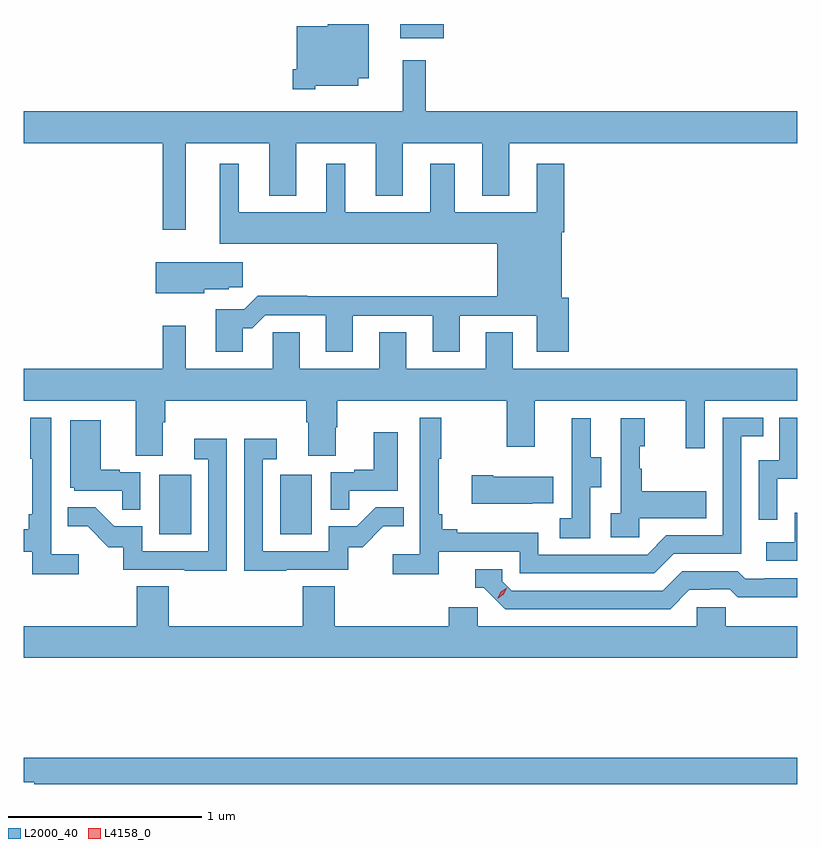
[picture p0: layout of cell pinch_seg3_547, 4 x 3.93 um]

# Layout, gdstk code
import gdstk
lib = gdstk.Library(unit=1e-6, precision=1e-09)
def R(c, l, rs):  # rectangles x0, y0, x1, y1
    for r in rs: c.add(gdstk.rectangle(r[:2], r[2:], *l))
def P(c, l, *ps):  # polygons
    for p in ps: c.add(gdstk.Polygon(p, *l))
L2000_40 = (2000, 40)
L4158_0 = (4158, 0)

pinch_seg3_547 = lib.new_cell('pinch_seg3_547')
R(pinch_seg3_547, L2000_40, [(1089.104,704.22,1089.268,704.527), (1089.728,704.22,1089.892,704.527), (1090.349,706.787,1090.576,706.86)])
P(pinch_seg3_547, L2000_40, [(1089.909,706.541),(1090.132,706.541),(1090.132,706.58),(1090.186,706.58),(1090.186,706.86),(1089.974,706.86),(1089.974,706.849),(1089.815,706.849),(1089.815,706.627),(1089.794,706.627),(1089.794,706.523),(1089.909,706.523)],
  [(1088.403,706.244),(1089.12,706.244),(1089.12,705.795),(1089.241,705.795),(1089.241,706.244),(1089.671,706.244),(1089.671,705.971),(1089.811,705.971),(1089.811,706.244),(1090.223,706.244),(1090.223,705.971),(1090.363,705.971),(1090.363,706.244),(1090.775,706.244),(1090.775,705.971),(1090.915,705.971),(1090.915,706.244),(1092.403,706.244),(1092.403,706.408),(1090.481,706.408),(1090.481,706.672),(1090.363,706.672),(1090.363,706.408),(1088.403,706.408)],
  [(1089.535,705.287),(1089.584,705.287),(1089.651,705.354),(1089.965,705.354),(1089.965,705.165),(1090.105,705.165),(1090.105,705.351),(1090.517,705.351),(1090.517,705.165),(1090.657,705.165),(1090.657,705.351),(1091.057,705.351),(1091.057,705.165),(1091.222,705.165),(1091.222,705.444),(1091.185,705.444),(1091.185,705.782),(1091.198,705.782),(1091.198,706.138),(1091.057,706.138),(1091.057,705.886),(1090.633,705.886),(1090.633,706.138),(1090.505,706.138),(1090.505,705.886),(1090.066,705.886),(1090.066,706.138),(1089.968,706.138),(1089.968,705.886),(1089.514,705.886),(1089.514,706.138),(1089.416,706.138),(1089.416,705.722),(1090.853,705.722),(1090.853,705.452),(1089.869,705.452),(1089.869,705.455),(1089.614,705.455),(1089.543,705.384),(1089.395,705.384),(1089.395,705.165),(1089.535,705.165)],
  [(1089.336,705.488),(1089.462,705.488),(1089.462,705.499),(1089.535,705.499),(1089.535,705.628),(1089.086,705.628),(1089.086,705.467),(1089.336,705.467)],
  [(1089.121,704.8),(1089.134,704.8),(1089.134,704.912),(1089.863,704.912),(1089.863,704.8),(1089.875,704.8),(1089.875,704.626),(1090.015,704.626),(1090.015,704.775),(1090.023,704.775),(1090.023,704.912),(1090.9,704.912),(1090.9,704.673),(1091.047,704.673),(1091.047,704.912),(1091.828,704.912),(1091.828,704.664),(1091.925,704.664),(1091.925,704.912),(1092.403,704.912),(1092.403,705.076),(1090.933,705.076),(1090.933,705.266),(1090.793,705.266),(1090.793,705.076),(1090.381,705.076),(1090.381,705.266),(1090.241,705.266),(1090.241,705.076),(1089.829,705.076),(1089.829,705.266),(1089.69,705.266),(1089.69,705.076),(1089.241,705.076),(1089.241,705.298),(1089.12,705.298),(1089.12,705.076),(1088.403,705.076),(1088.403,704.912),(1088.981,704.912),(1088.981,704.626),(1089.121,704.626)],
  [(1088.686,704.116),(1088.544,704.116),(1088.544,704.824),(1088.436,704.824),(1088.436,704.611),(1088.447,704.611),(1088.447,704.323),(1088.428,704.323),(1088.428,704.246),(1088.403,704.246),(1088.403,704.13),(1088.447,704.13),(1088.447,704.014),(1088.686,704.014)],
  [(1090.55,704.13),(1090.968,704.13),(1090.968,704.019),(1091.665,704.019),(1091.764,704.118),(1092.114,704.118),(1092.114,704.727),(1092.227,704.727),(1092.227,704.823),(1092.018,704.823),(1092.018,704.214),(1091.727,704.214),(1091.628,704.115),(1091.064,704.115),(1091.064,704.227),(1090.645,704.227),(1090.645,704.246),(1090.568,704.246),(1090.568,704.323),(1090.549,704.323),(1090.549,704.611),(1090.561,704.611),(1090.561,704.824),(1090.452,704.824),(1090.452,704.116),(1090.311,704.116),(1090.311,704.014),(1090.55,704.014)],
  [(1092.3,704.507),(1092.403,704.507),(1092.403,704.823),(1092.312,704.823),(1092.312,704.604),(1092.204,704.604),(1092.204,704.295),(1092.3,704.295)],
  [(1091.334,704.464),(1091.389,704.464),(1091.389,704.619),(1091.335,704.619),(1091.335,704.821),(1091.237,704.821),(1091.237,704.607),(1091.238,704.607),(1091.238,704.303),(1091.175,704.303),(1091.175,704.2),(1091.334,704.2)],
  [(1091.586,704.303),(1091.933,704.303),(1091.933,704.443),(1091.599,704.443),(1091.599,704.558),(1091.589,704.558),(1091.589,704.676),(1091.614,704.676),(1091.614,704.821),(1091.49,704.821),(1091.49,704.33),(1091.439,704.33),(1091.439,704.205),(1091.586,704.205)],
  [(1089.006,704.541),(1088.9,704.541),(1088.9,704.554),(1088.8,704.554),(1088.8,704.809),(1088.642,704.809),(1088.642,704.46),(1088.664,704.46),(1088.664,704.445),(1088.911,704.445),(1088.911,704.347),(1089.006,704.347)],
  [(1090.085,704.445),(1090.336,704.445),(1090.336,704.749),(1090.214,704.749),(1090.214,704.554),(1090.111,704.554),(1090.111,704.541),(1089.99,704.541),(1089.99,704.347),(1090.085,704.347)],
  [(1089.761,704.037),(1090.08,704.037),(1090.08,704.154),(1090.156,704.154),(1090.263,704.261),(1090.367,704.261),(1090.367,704.36),(1090.224,704.36),(1090.126,704.262),(1089.981,704.262),(1089.981,704.133),(1089.639,704.133),(1089.639,704.607),(1089.712,704.607),(1089.712,704.713),(1089.543,704.713),(1089.543,704.032),(1089.761,704.032)],
  [(1089.453,704.713),(1089.285,704.713),(1089.285,704.607),(1089.357,704.607),(1089.357,704.133),(1089.015,704.133),(1089.015,704.262),(1088.871,704.262),(1088.773,704.36),(1088.629,704.36),(1088.629,704.261),(1088.733,704.261),(1088.84,704.154),(1088.917,704.154),(1088.917,704.037),(1089.235,704.037),(1089.235,704.032),(1089.453,704.032)],
  [(1091.033,704.381),(1091.141,704.381),(1091.141,704.518),(1090.831,704.518),(1090.831,704.526),(1090.719,704.526),(1090.719,704.378),(1091.033,704.378)],
  [(1092.403,704.332),(1092.39,704.332),(1092.39,704.178),(1092.243,704.178),(1092.243,704.082),(1092.403,704.082)],
  [(1091.845,703.932),(1091.952,703.932),(1091.952,703.935),(1092.055,703.935),(1092.097,703.893),(1092.33,703.893),(1092.33,703.895),(1092.403,703.895),(1092.403,703.992),(1092.235,703.992),(1092.235,703.989),(1092.136,703.989),(1092.097,704.028),(1091.808,704.028),(1091.709,703.929),(1090.926,703.929),(1090.878,703.977),(1090.878,704.04),(1090.739,704.04),(1090.739,703.944),(1090.782,703.944),(1090.893,703.833),(1091.746,703.833)],
  [(1092.403,703.744),(1092.033,703.744),(1092.033,703.842),(1091.883,703.842),(1091.883,703.744),(1090.752,703.744),(1090.752,703.842),(1090.601,703.842),(1090.601,703.744),(1090.01,703.744),(1090.01,703.952),(1089.845,703.952),(1089.845,703.744),(1089.152,703.744),(1089.152,703.952),(1088.987,703.952),(1088.987,703.744),(1088.403,703.744),(1088.403,703.58),(1092.403,703.58)],
  [(1092.403,703.064),(1088.403,703.064),(1088.403,702.936),(1088.456,702.936),(1088.456,702.928),(1092.403,702.928)])
P(pinch_seg3_547, L4158_0, [(1090.855,703.89),(1090.855,703.89),(1090.871,703.923),(1090.902,703.943),(1090.902,703.943),(1090.902,703.943),(1090.886,703.91),(1090.856,703.89)])

lib.write_gds('pinch_seg3_547.gds')
